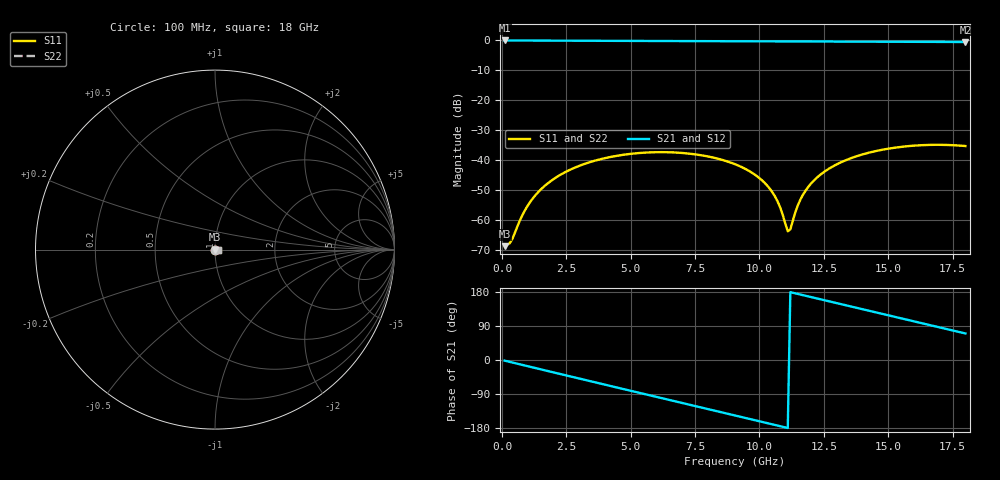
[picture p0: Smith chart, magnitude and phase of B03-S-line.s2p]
! yapnr rf coupon B: B03 S L6.5 (line, family S)
! stackup JLC06161H-2116C, nominal parameters; reference planes 10 mm from each end; 50 ohm (renormalized from the line's Zc)
! model: 2D quasi-static RLGC (Djordjevic-Sarkar, Huray roughness, Wheeler loss); generated by python -m yapnr.rf.coupons expected
# GHz S DB R 50
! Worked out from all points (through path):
!   180 points, 100 MHz to 18 GHz, reference 50 ohm
!   highest |S21| = -0.01 dB at 100 MHz (marker M1); lowest = -0.5 dB at 18 GHz (marker M2)
!   group delay of S21, straight-line fit = 44.7 ps
!   lowest |S11| = -68.7 dB at 100 MHz (marker M3), VSWR 1.00, Z = 50 + j0.0122 ohm
!   |S11| at or under -10 dB: start of sweep to end of sweep
!   |S22| runs from -68.7 to -34.8 dB; largest |S21 - S12| = 0
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0.1  -68.69 19.3  -0.01 -1.7  -0.01 -1.7  -68.69 19.3
0.3  -67.70 45.2  -0.02 -5.0  -0.02 -5.0  -67.70 45.2
0.9  -56.56 90.8  -0.04 -14.8  -0.04 -14.8  -56.56 90.8
1.4  -50.69 88.7  -0.05 -23.0  -0.05 -23.0  -50.69 88.7
2.1  -45.73 79.0  -0.07 -34.4  -0.07 -34.4  -45.73 79.0
3.1  -41.54 63.0  -0.11 -50.6  -0.11 -50.6  -41.54 63.0
4.6  -38.32 38.3  -0.15 -74.8  -0.15 -74.8  -38.32 38.3
6.1  -37.30 13.9  -0.19 -99.0  -0.19 -99.0  -37.30 13.9
7.5  -38.03 -8.4  -0.23 -121.6  -0.23 -121.6  -38.03 -8.4
9.1  -41.49 -32.8  -0.28 -147.3  -0.28 -147.3  -41.49 -32.8
9.8  -44.68 -42.1  -0.30 -158.5  -0.30 -158.5  -44.68 -42.1
10.4  -49.48 -47.1  -0.31 -168.2  -0.31 -168.2  -49.48 -47.1
10.8  -55.65 -41.9  -0.33 -174.6  -0.33 -174.6  -55.65 -41.9
11.1  -63.72 6.8  -0.33 -179.4  -0.33 -179.4  -63.72 6.8
11.2  -63.09 44.8  -0.34 179.0  -0.34 179.0  -63.09 44.8
11.4  -57.20 78.8  -0.34 175.8  -0.34 175.8  -57.20 78.8
11.6  -52.96 86.5  -0.35 172.6  -0.35 172.6  -52.96 86.5
12.1  -46.89 86.8  -0.36 164.5  -0.36 164.5  -46.89 86.8
13.3  -40.18 72.1  -0.39 145.3  -0.39 145.3  -40.18 72.1
15.1  -36.01 45.2  -0.44 116.4  -0.44 116.4  -36.01 45.2
16.6  -34.88 22.2  -0.48 92.4  -0.48 92.4  -34.88 22.2
18  -35.26 1.0  -0.52 70.0  -0.52 70.0  -35.26 1.0
